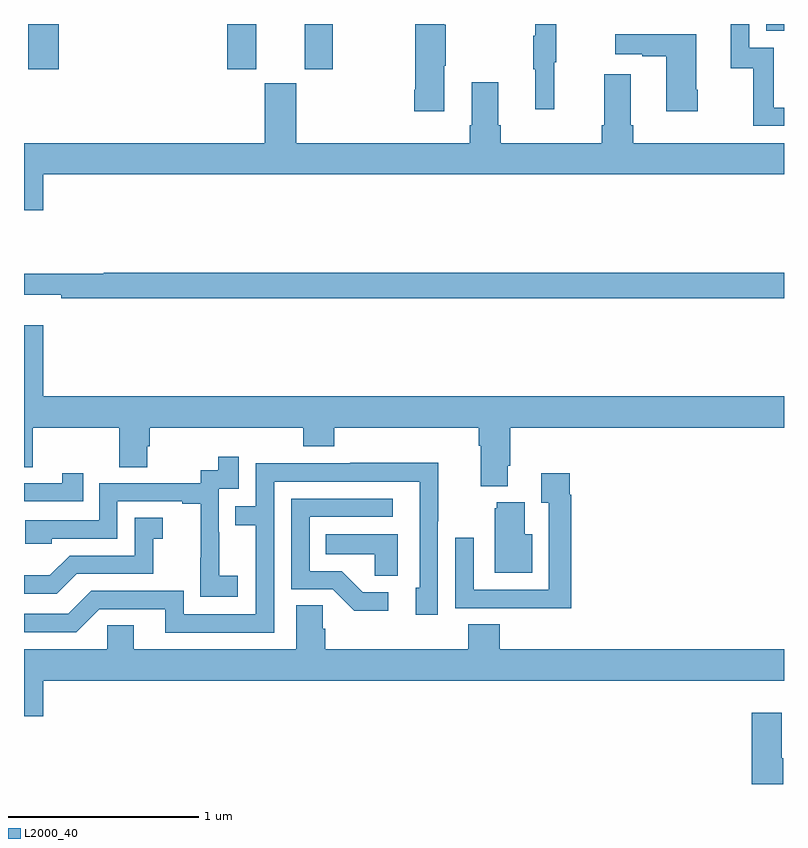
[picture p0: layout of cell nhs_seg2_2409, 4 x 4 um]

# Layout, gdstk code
import gdstk
lib = gdstk.Library(unit=1e-6, precision=1e-09)
def R(c, l, rs):  # rectangles x0, y0, x1, y1
    for r in rs: c.add(gdstk.rectangle(r[:2], r[2:], *l))
def P(c, l, *ps):  # polygons
    for p in ps: c.add(gdstk.Polygon(p, *l))
L2000_40 = (2000, 40)

nhs_seg2_2409 = lib.new_cell('nhs_seg2_2409')
R(nhs_seg2_2409, L2000_40, [(237.022,609.561,237.182,609.8), (238.07,609.561,238.222,609.8), (238.478,609.561,238.626,609.8), (240.906,609.765,241,609.8)])
P(nhs_seg2_2409, L2000_40, [(239.212,609.58),(239.22,609.58),(239.22,609.797),(239.212,609.797),(239.212,609.8),(239.059,609.8),(239.059,609.454),(239.054,609.454),(239.054,609.342),(239.212,609.342)],
  [(239.792,609.6),(239.8,609.6),(239.8,609.8),(239.69,609.8),(239.69,609.737),(239.679,609.737),(239.679,609.563),(239.69,609.563),(239.69,609.351),(239.792,609.351)],
  [(241,609.36),(240.945,609.36),(240.945,609.675),(240.816,609.675),(240.816,609.8),(240.719,609.8),(240.719,609.567),(240.837,609.567),(240.837,609.264),(241,609.264)],
  [(240.546,609.454),(240.538,609.454),(240.538,609.745),(240.111,609.745),(240.111,609.641),(240.254,609.641),(240.254,609.631),(240.38,609.631),(240.38,609.342),(240.546,609.342)],
  [(237.1,609.008),(241,609.008),(241,609.172),(240.206,609.172),(240.206,609.268),(240.193,609.268),(240.193,609.535),(240.053,609.535),(240.053,609.268),(240.041,609.268),(240.041,609.172),(239.51,609.172),(239.51,609.268),(239.497,609.268),(239.497,609.493),(239.357,609.493),(239.357,609.268),(239.345,609.268),(239.345,609.172),(238.432,609.172),(238.432,609.489),(238.268,609.489),(238.268,609.172),(237,609.172),(237,608.82),(237.1,608.82)],
  [(241,608.492),(237.419,608.492),(237.419,608.485),(237,608.485),(237,608.375),(237.196,608.375),(237.196,608.356),(241,608.356)],
  [(239.545,607.474),(239.558,607.474),(239.558,607.676),(241,607.676),(241,607.84),(237.1,607.84),(237.1,608.215),(237,608.215),(237,607.468),(237.045,607.468),(237.045,607.676),(237.502,607.676),(237.502,607.468),(237.649,607.468),(237.649,607.578),(237.662,607.578),(237.662,607.676),(238.469,607.676),(238.469,607.577),(238.634,607.577),(238.634,607.676),(239.393,607.676),(239.393,607.58),(239.405,607.58),(239.405,607.367),(239.545,607.367)],
  [(238.126,606.895),(238.028,606.895),(238.028,607.124),(238.026,607.124),(238.026,607.353),(238.131,607.353),(238.131,607.522),(238.023,607.522),(238.023,607.452),(237.93,607.452),(237.93,607.383),(237.396,607.383),(237.396,607.188),(237.007,607.188),(237.007,607.065),(237.147,607.065),(237.147,607.092),(237.492,607.092),(237.492,607.287),(237.833,607.287),(237.833,607.275),(237.929,607.275),(237.929,606.991),(237.928,606.991),(237.928,606.785),(238.126,606.785)],
  [(238.317,607.392),(239.082,607.392),(239.082,606.834),(239.063,606.834),(239.063,606.69),(239.178,606.69),(239.178,607.183),(239.181,607.183),(239.181,607.49),(238.717,607.49),(238.717,607.488),(238.221,607.488),(238.221,607.263),(238.111,607.263),(238.111,607.162),(238.221,607.162),(238.221,606.693),(237.84,606.693),(237.84,606.816),(237.354,606.816),(237.234,606.696),(237,606.696),(237,606.6),(237.276,606.6),(237.396,606.72),(237.743,606.72),(237.743,606.597),(238.317,606.597)],
  [(239.879,607.322),(239.872,607.322),(239.872,607.435),(239.723,607.435),(239.723,607.279),(239.763,607.279),(239.763,606.822),(239.367,606.822),(239.367,607.096),(239.271,607.096),(239.271,606.726),(239.587,606.726),(239.587,606.725),(239.879,606.725)],
  [(237.311,607.435),(237.2,607.435),(237.2,607.383),(237,607.383),(237,607.287),(237.311,607.287)],
  [(238.918,606.81),(238.783,606.81),(238.672,606.921),(238.503,606.921),(238.503,607.206),(238.942,607.206),(238.942,607.302),(238.407,607.302),(238.407,606.825),(238.626,606.825),(238.739,606.713),(238.918,606.713)],
  [(239.674,607.114),(239.635,607.114),(239.635,607.282),(239.489,607.282),(239.489,607.251),(239.477,607.251),(239.477,606.911),(239.674,606.911)],
  [(237.277,606.906),(237.681,606.906),(237.681,607.091),(237.73,607.091),(237.73,607.201),(237.582,607.201),(237.582,607.002),(237.24,607.002),(237.136,606.898),(237,606.898),(237,606.801),(237.172,606.801)],
  [(238.966,607.114),(238.588,607.114),(238.588,607.01),(238.845,607.01),(238.845,606.895),(238.966,606.895)],
  [(237.1,606.344),(241,606.344),(241,606.508),(239.504,606.508),(239.504,606.641),(239.339,606.641),(239.339,606.508),(238.586,606.508),(238.586,606.617),(238.572,606.617),(238.572,606.74),(238.433,606.74),(238.433,606.508),(237.577,606.508),(237.577,606.635),(237.438,606.635),(237.438,606.508),(237,606.508),(237,606.156),(237.1,606.156)],
  [(240.996,605.936),(240.988,605.936),(240.988,606.175),(240.83,606.175),(240.83,605.8),(240.996,605.8)])

lib.write_gds('nhs_seg2_2409.gds')
